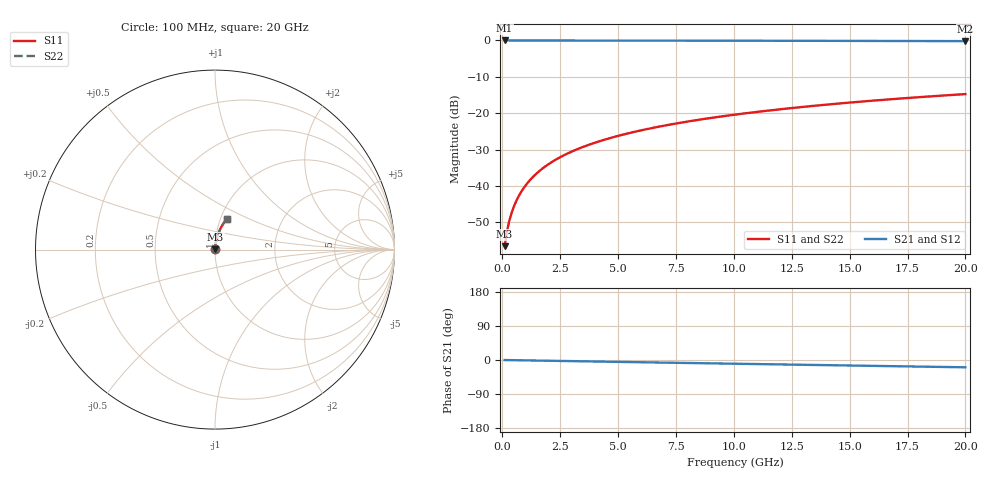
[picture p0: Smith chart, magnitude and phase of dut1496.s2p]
! Touchstone file exported from HFSS 2026.1.0
!  File:  C:/ffzhzh/LocalFiles/Ansys_Project_Files/temp_train_BSMRDL_1496_1783181662_18472.aedt
!  Generated:  12:15:34 AM Jul  5, 2026
!  Design:  BSMRDL
!  Project:  temp_train_BSMRDL_1496_1783181662_18472
! Variables:
!  h_bsmrdl = 5.18um
!  h_ox = 20um
!  h_rdl = 5um
!  h_sub = 80um
!  h_tmrdl = 5um
!  h_tsv = 80um
!  h_via = 3um
!  l_bsmrdl = 259.68um
!  l_sub = 659.68um
!  l_tmrdl = 200um
!  m_sub = 200um
!  pitch = 44.26um
!  r_tsv = 6um
!  s_tmrdl = 10um
!  w_bsmrdl = 20.02um
!  w_sub = 500um
!  w_tmrdl = 12um
!  x_tsv_center1 = 206um
!  x_tsv_center2 = 485.7um
!  x_tsv_center3 = 697.7um
!  x_tsv_center4 = 977.4um
!  x_tsv_center5 = 1189.4um
!  x_tsv_center6 = 1469.1um
# GHz S MA R 50.000000
! Terminal data exported
! Port[1] = BSM_RDL1_1_T1
! Port[2] = BSM_RDL1_1_T2
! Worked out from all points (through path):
!   200 points, 100 MHz to 20 GHz, reference 50 ohm
!   highest |S21| = -0.01 dB at 100 MHz (marker M1); lowest = -0.2 dB at 20 GHz (marker M2)
!   group delay of S21, straight-line fit = 2.67 ps
!   lowest |S11| = -56.5 dB at 100 MHz (marker M3), VSWR 1.00, Z = 50.1 + j0.108 ohm
!   |S11| at or under -10 dB: start of sweep to end of sweep
!   |S22| runs from -56.5 to -14.7 dB; largest |S21 - S12| = 4.4e-15
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0.1  0.001496 46.3  0.999 -0.1  0.999 -0.1  0.001496 46.3
! Gamma 0 0 0 0
! Port Impedance 50 0 50 0
0.2  0.002376 62.4  0.9989 -0.2  0.9989 -0.2  0.002376 62.4
0.3  0.003311 69.6  0.9988 -0.3  0.9988 -0.3  0.003311 69.6
0.4  0.004264 73.7  0.9988 -0.4  0.9988 -0.4  0.004265 73.7
0.5  0.005231 76.3  0.9988 -0.5  0.9988 -0.5  0.005231 76.3
0.6  0.006207 78.1  0.9987 -0.6  0.9987 -0.6  0.006207 78.1
0.8  0.008174 80.4  0.9987 -0.8  0.9987 -0.8  0.008174 80.4
1.1  0.01114 82.1  0.9986 -1.1  0.9986 -1.1  0.01114 82.1
1.3  0.01312 82.7  0.9985 -1.3  0.9985 -1.3  0.01312 82.7
1.5  0.0151 83.1  0.9984 -1.5  0.9984 -1.5  0.0151 83.1
1.8  0.01806 83.4  0.9983 -1.8  0.9983 -1.8  0.01806 83.4
2.1  0.02101 83.5  0.9982 -2.1  0.9982 -2.1  0.02101 83.5
2.7  0.02688 83.4  0.9978 -2.7  0.9978 -2.7  0.02688 83.4
3.5  0.03461 83.0  0.9973 -3.5  0.9973 -3.5  0.03461 83.0
4.2  0.04131 82.5  0.9968 -4.2  0.9968 -4.2  0.04131 82.5
5  0.0489 81.9  0.9962 -5.0  0.9962 -5.0  0.0489 81.9
6.8  0.06578 80.5  0.9946 -6.7  0.9946 -6.7  0.06578 80.5
8.3  0.07968 79.3  0.9932 -8.2  0.9932 -8.2  0.07968 79.3
10.1  0.09619 77.7  0.9914 -9.9  0.9914 -9.9  0.09619 77.7
13.4  0.126 74.8  0.9875 -13.1  0.9875 -13.1  0.126 74.9
16.7  0.155 71.9  0.9828 -16.2  0.9828 -16.2  0.155 71.9
20  0.1833 69.0  0.9775 -19.3  0.9775 -19.3  0.1833 69.0
